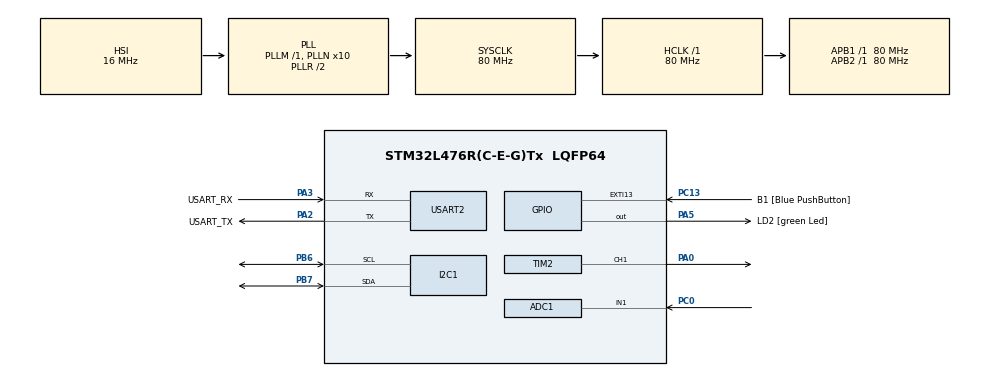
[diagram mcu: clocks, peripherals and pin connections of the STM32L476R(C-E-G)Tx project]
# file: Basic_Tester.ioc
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ADC1.Channel-0\#ChannelRegularConversion=ADC_CHANNEL_1
ADC1.NbrOfConversionFlag=1
ADC1.OffsetNumber-0\#ChannelRegularConversion=ADC_OFFSET_NONE
ADC1.Rank-0\#ChannelRegularConversion=1
ADC1.SamplingTime-0\#ChannelRegularConversion=ADC_SAMPLETIME_2CYCLES_5
ADC1.master=1
Dma.ADC1.0.Direction=DMA_PERIPH_TO_MEMORY
Dma.ADC1.0.Instance=DMA1_Channel1
Dma.ADC1.0.MemDataAlignment=DMA_MDATAALIGN_HALFWORD
Dma.ADC1.0.MemInc=DMA_MINC_ENABLE
Dma.ADC1.0.Mode=DMA_NORMAL
Dma.ADC1.0.PeriphDataAlignment=DMA_PDATAALIGN_HALFWORD
Dma.ADC1.0.PeriphInc=DMA_PINC_DISABLE
Dma.ADC1.0.Priority=DMA_PRIORITY_LOW
Dma.Request0=ADC1
I2C1.Timing=0x10909CEC
Mcu.Family=STM32L4
Mcu.Name=STM32L476R(C-E-G)Tx
Mcu.Package=LQFP64
NVIC.ADC1_2_IRQn=true\:0\:0\:false\:false\:true\:true\:true\:true
NVIC.DMA1_Channel1_IRQn=true\:0\:0\:false\:false\:true\:false\:true\:true
NVIC.PriorityGroup=NVIC_PRIORITYGROUP_4
NVIC.TIM2_IRQn=true\:0\:0\:false\:false\:true\:true\:true\:true
PA0.Signal=S_TIM2_CH1
PA13\ (JTMS-SWDIO).GPIO_Label=TMS
PA13\ (JTMS-SWDIO).Mode=Serial_Wire
PA13\ (JTMS-SWDIO).Signal=SYS_JTMS-SWDIO
PA14\ (JTCK-SWCLK).GPIO_Label=TCK
PA14\ (JTCK-SWCLK).Mode=Serial_Wire
PA14\ (JTCK-SWCLK).Signal=SYS_JTCK-SWCLK
PA2.GPIO_Label=USART_TX
PA2.GPIO_Mode=GPIO_MODE_AF_PP
PA2.GPIO_PuPd=GPIO_NOPULL
PA2.GPIO_Speed=GPIO_SPEED_FREQ_VERY_HIGH
PA2.Mode=Asynchronous
PA2.Signal=USART2_TX
PA3.GPIO_Label=USART_RX
PA3.GPIO_Mode=GPIO_MODE_AF_PP
PA3.GPIO_PuPd=GPIO_NOPULL
PA3.GPIO_Speed=GPIO_SPEED_FREQ_VERY_HIGH
PA3.Mode=Asynchronous
PA3.Signal=USART2_RX
PA5.GPIO_Label=LD2 [green Led]
PA5.GPIO_ModeDefaultOutputPP=GPIO_MODE_OUTPUT_PP
PA5.GPIO_PuPd=GPIO_NOPULL
PA5.GPIO_Speed=GPIO_SPEED_FREQ_LOW
PA5.Signal=GPIO_Output
PB3\ (JTDO-TRACESWO).GPIO_Label=SWO
PB3\ (JTDO-TRACESWO).Signal=SYS_JTDO-SWO
PB6.Mode=I2C
PB6.Signal=I2C1_SCL
PB7.Mode=I2C
PB7.Signal=I2C1_SDA
PC0.Signal=ADCx_IN1
PC13.GPIO_Label=B1 [Blue PushButton]
PC13.GPIO_ModeDefaultEXTI=GPIO_MODE_IT_FALLING
PC13.GPIO_PuPd=GPIO_NOPULL
PC13.Signal=GPXTI13
PC14-OSC32_IN\ (PC14).GPIO_Label=Test
PC14-OSC32_IN\ (PC14).Mode=LSE-External-Oscillator
PC14-OSC32_IN\ (PC14).Signal=RCC_OSC32_IN
PC15-OSC32_OUT\ (PC15).Mode=LSE-External-Oscillator
PC15-OSC32_OUT\ (PC15).Signal=RCC_OSC32_OUT
PH0-OSC_IN\ (PH0).Signal=RCC_OSC_IN
PH1-OSC_OUT\ (PH1).Signal=RCC_OSC_OUT
ProjectManager.HeapSize=0x200
ProjectManager.StackSize=0x400
ProjectManager.TargetToolchain=STM32CubeIDE
RCC.ADCFreq_Value=64000000
RCC.AHBFreq_Value=80000000
RCC.APB1Freq_Value=80000000
RCC.APB1TimFreq_Value=80000000
RCC.APB2Freq_Value=80000000
RCC.APB2TimFreq_Value=80000000
RCC.CortexFreq_Value=80000000
RCC.HCLKFreq_Value=80000000
RCC.HSE_VALUE=8000000
RCC.HSI_VALUE=16000000
RCC.MSI_VALUE=4000000
RCC.PLLN=10
RCC.PLLSourceVirtual=RCC_PLLSOURCE_HSI
RCC.PREFETCH_ENABLE=1
RCC.SYSCLKFreq_VALUE=80000000
RCC.SYSCLKSource=RCC_SYSCLKSOURCE_PLLCLK
RCC.USBFreq_Value=64000000
RCC.VCOOutputFreq_Value=160000000
SH.ADCx_IN1.0=ADC1_IN1,IN1-Single-Ended
SH.S_TIM2_CH1.0=TIM2_CH1,PWM Generation1 CH1
TIM2.AutoReloadPreload=TIM_AUTORELOAD_PRELOAD_ENABLE
TIM2.Channel-PWM\ Generation1\ CH1=TIM_CHANNEL_1
TIM2.Period=10000
TIM2.Prescaler=80
USART2.VirtualMode-Asynchronous=VM_ASYNC
VP_TIM2_VS_ClockSourceINT.Mode=Internal
board=NUCLEO-L476RG

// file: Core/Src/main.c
/* USER CODE BEGIN Header */
/* USER CODE END Header */
#include "main.h"

/* USER CODE BEGIN Includes */
#include <stdio.h>
#include <stdlib.h>
#include <math.h>
#include "lcd_i2c.h"
/* USER CODE END Includes */

/* USER CODE BEGIN PD */
#define TRUE	  			1
#define FALSE     			0
#define MUESTRAS     		20         //Muestras a realizar
#define CAL 				1.687      //Valor de Calibracion
/* USER CODE END PD */

ADC_HandleTypeDef hadc1;

I2C_HandleTypeDef hi2c1;

TIM_HandleTypeDef htim2;

UART_HandleTypeDef huart2;

/* USER CODE BEGIN PV */
char VOL_STR[5];                   		  //String del Voltaje
unsigned int Frecuencia_Salida;
volatile float Frecuencia = 0.0;
volatile uint32_t Tiempo_Subida = 0;      //Tiempo de Flanco de Subida
volatile uint32_t Tiempo_Bajada = 0;
volatile uint32_t Periodo = 0;
unsigned int cont_Frec = 0;
/* USER CODE END PV */

void SystemClock_Config(void);
static void MX_GPIO_Init(void);
static void MX_USART2_UART_Init(void);
static void MX_TIM2_Init(void);
static void MX_ADC1_Init(void);
static void MX_I2C1_Init(void);

int main(void)
{

  /* MCU Configuration--------------------------------------------------------*/

  /* Reset of all peripherals, Initializes the Flash interface and the Systick. */
  HAL_Init();

  /* Configure the system clock */
  SystemClock_Config();

  /* Initialize all configured peripherals */
  MX_GPIO_Init();
  MX_USART2_UART_Init();
  MX_TIM2_Init();
  MX_ADC1_Init();
  MX_I2C1_Init();
  /* USER CODE BEGIN 2 */
  HAL_TIM_Base_Start_IT(&htim2);
  lcd_init();
  /* USER CODE END 2 */

  /* Infinite loop */

}

void SystemClock_Config(void)
{
  RCC_OscInitTypeDef RCC_OscInitStruct = {0};
  RCC_ClkInitTypeDef RCC_ClkInitStruct = {0};

  /** Configure the main internal regulator output voltage
  */
  if (HAL_PWREx_ControlVoltageScaling(PWR_REGULATOR_VOLTAGE_SCALE1) != HAL_OK)
  {
    Error_Handler();
  }

  /** Initializes the RCC Oscillators according to the specified parameters
  * in the RCC_OscInitTypeDef structure.
  */
  RCC_OscInitStruct.OscillatorType = RCC_OSCILLATORTYPE_HSI;
  RCC_OscInitStruct.HSIState = RCC_HSI_ON;
  RCC_OscInitStruct.HSICalibrationValue = RCC_HSICALIBRATION_DEFAULT;
  RCC_OscInitStruct.PLL.PLLState = RCC_PLL_ON;
  RCC_OscInitStruct.PLL.PLLSource = RCC_PLLSOURCE_HSI;
  RCC_OscInitStruct.PLL.PLLM = 1;
  RCC_OscInitStruct.PLL.PLLN = 10;
  RCC_OscInitStruct.PLL.PLLP = RCC_PLLP_DIV7;
  RCC_OscInitStruct.PLL.PLLQ = RCC_PLLQ_DIV2;
  RCC_OscInitStruct.PLL.PLLR = RCC_PLLR_DIV2;
  if (HAL_RCC_OscConfig(&RCC_OscInitStruct) != HAL_OK)
  {
    Error_Handler();
  }

  /** Initializes the CPU, AHB and APB buses clocks
  */
  RCC_ClkInitStruct.ClockType = RCC_CLOCKTYPE_HCLK|RCC_CLOCKTYPE_SYSCLK
                              |RCC_CLOCKTYPE_PCLK1|RCC_CLOCKTYPE_PCLK2;
  RCC_ClkInitStruct.SYSCLKSource = RCC_SYSCLKSOURCE_PLLCLK;
  RCC_ClkInitStruct.AHBCLKDivider = RCC_SYSCLK_DIV1;
  RCC_ClkInitStruct.APB1CLKDivider = RCC_HCLK_DIV1;
  RCC_ClkInitStruct.APB2CLKDivider = RCC_HCLK_DIV1;

  if (HAL_RCC_ClockConfig(&RCC_ClkInitStruct, FLASH_LATENCY_4) != HAL_OK)
  {
    Error_Handler();
  }
}

static void MX_ADC1_Init(void)
{

  ADC_MultiModeTypeDef multimode = {0};
  ADC_ChannelConfTypeDef sConfig = {0};

  /** Common config
  */
  hadc1.Instance = ADC1;
  hadc1.Init.ClockPrescaler = ADC_CLOCK_ASYNC_DIV1;
  hadc1.Init.Resolution = ADC_RESOLUTION_12B;
  hadc1.Init.DataAlign = ADC_DATAALIGN_RIGHT;
  hadc1.Init.ScanConvMode = ADC_SCAN_DISABLE;
  hadc1.Init.EOCSelection = ADC_EOC_SINGLE_CONV;
  hadc1.Init.LowPowerAutoWait = DISABLE;
  hadc1.Init.ContinuousConvMode = DISABLE;
  hadc1.Init.NbrOfConversion = 1;
  hadc1.Init.DiscontinuousConvMode = DISABLE;
  hadc1.Init.ExternalTrigConv = ADC_SOFTWARE_START;
  hadc1.Init.ExternalTrigConvEdge = ADC_EXTERNALTRIGCONVEDGE_NONE;
  hadc1.Init.DMAContinuousRequests = DISABLE;
  hadc1.Init.Overrun = ADC_OVR_DATA_PRESERVED;
  hadc1.Init.OversamplingMode = DISABLE;
  if (HAL_ADC_Init(&hadc1) != HAL_OK)
  {
    Error_Handler();
  }

  /** Configure the ADC multi-mode
  */
  multimode.Mode = ADC_MODE_INDEPENDENT;
  if (HAL_ADCEx_MultiModeConfigChannel(&hadc1, &multimode) != HAL_OK)
  {
    Error_Handler();
  }

  /** Configure Regular Channel
  */
  sConfig.Channel = ADC_CHANNEL_1;
  sConfig.Rank = ADC_REGULAR_RANK_1;
  sConfig.SamplingTime = ADC_SAMPLETIME_2CYCLES_5;
  sConfig.SingleDiff = ADC_SINGLE_ENDED;
  sConfig.OffsetNumber = ADC_OFFSET_NONE;
  sConfig.Offset = 0;
  if (HAL_ADC_ConfigChannel(&hadc1, &sConfig) != HAL_OK)
  {
    Error_Handler();
  }

}

static void MX_I2C1_Init(void)
{

  hi2c1.Instance = I2C1;
  hi2c1.Init.Timing = 0x10909CEC;
  hi2c1.Init.OwnAddress1 = 0;
  hi2c1.Init.AddressingMode = I2C_ADDRESSINGMODE_7BIT;
  hi2c1.Init.DualAddressMode = I2C_DUALADDRESS_DISABLE;
  hi2c1.Init.OwnAddress2 = 0;
  hi2c1.Init.OwnAddress2Masks = I2C_OA2_NOMASK;
  hi2c1.Init.GeneralCallMode = I2C_GENERALCALL_DISABLE;
  hi2c1.Init.NoStretchMode = I2C_NOSTRETCH_DISABLE;
  if (HAL_I2C_Init(&hi2c1) != HAL_OK)
  {
    Error_Handler();
  }

  /** Configure Analogue filter
  */
  if (HAL_I2CEx_ConfigAnalogFilter(&hi2c1, I2C_ANALOGFILTER_ENABLE) != HAL_OK)
  {
    Error_Handler();
  }

  /** Configure Digital filter
  */
  if (HAL_I2CEx_ConfigDigitalFilter(&hi2c1, 0) != HAL_OK)
  {
    Error_Handler();
  }

}

static void MX_TIM2_Init(void)
{

  TIM_ClockConfigTypeDef sClockSourceConfig = {0};
  TIM_MasterConfigTypeDef sMasterConfig = {0};

  htim2.Instance = TIM2;
  htim2.Init.Prescaler = 80;
  htim2.Init.CounterMode = TIM_COUNTERMODE_UP;
  htim2.Init.Period = 10000;
  htim2.Init.ClockDivision = TIM_CLOCKDIVISION_DIV1;
  htim2.Init.AutoReloadPreload = TIM_AUTORELOAD_PRELOAD_DISABLE;
  if (HAL_TIM_Base_Init(&htim2) != HAL_OK)
  {
    Error_Handler();
  }
  sClockSourceConfig.ClockSource = TIM_CLOCKSOURCE_INTERNAL;
  if (HAL_TIM_ConfigClockSource(&htim2, &sClockSourceConfig) != HAL_OK)
  {
    Error_Handler();
  }
  sMasterConfig.MasterOutputTrigger = TIM_TRGO_RESET;
  sMasterConfig.MasterSlaveMode = TIM_MASTERSLAVEMODE_DISABLE;
  if (HAL_TIMEx_MasterConfigSynchronization(&htim2, &sMasterConfig) != HAL_OK)
  {
    Error_Handler();
  }

}

static void MX_USART2_UART_Init(void)
{

  huart2.Instance = USART2;
  huart2.Init.BaudRate = 115200;
  huart2.Init.WordLength = UART_WORDLENGTH_8B;
  huart2.Init.StopBits = UART_STOPBITS_1;
  huart2.Init.Parity = UART_PARITY_NONE;
  huart2.Init.Mode = UART_MODE_TX_RX;
  huart2.Init.HwFlowCtl = UART_HWCONTROL_NONE;
  huart2.Init.OverSampling = UART_OVERSAMPLING_16;
  huart2.Init.OneBitSampling = UART_ONE_BIT_SAMPLE_DISABLE;
  huart2.AdvancedInit.AdvFeatureInit = UART_ADVFEATURE_NO_INIT;
  if (HAL_UART_Init(&huart2) != HAL_OK)
  {
    Error_Handler();
  }

}

static void MX_GPIO_Init(void)
{
  GPIO_InitTypeDef GPIO_InitStruct = {0};

  /* GPIO Ports Clock Enable */
  __HAL_RCC_GPIOC_CLK_ENABLE();
  __HAL_RCC_GPIOH_CLK_ENABLE();
  __HAL_RCC_GPIOA_CLK_ENABLE();
  __HAL_RCC_GPIOB_CLK_ENABLE();

  /*Configure GPIO pin Output Level */
  HAL_GPIO_WritePin(LD2_GPIO_Port, LD2_Pin, GPIO_PIN_RESET);

  /*Configure GPIO pin : B1_Pin */
  GPIO_InitStruct.Pin = B1_Pin;
  GPIO_InitStruct.Mode = GPIO_MODE_IT_FALLING;
  GPIO_InitStruct.Pull = GPIO_NOPULL;
  HAL_GPIO_Init(B1_GPIO_Port, &GPIO_InitStruct);

  /*Configure GPIO pin : LD2_Pin */
  GPIO_InitStruct.Pin = LD2_Pin;
  GPIO_InitStruct.Mode = GPIO_MODE_OUTPUT_PP;
  GPIO_InitStruct.Pull = GPIO_NOPULL;
  GPIO_InitStruct.Speed = GPIO_SPEED_FREQ_LOW;
  HAL_GPIO_Init(LD2_GPIO_Port, &GPIO_InitStruct);

}

/* USER CODE BEGIN 4 */
void HAL_TIM_PeriodElapsedCallback(TIM_HandleTypeDef *htim)
{
    static unsigned int cont_VOL = 0;
    static float Media = 0.0;
    static uint32_t MED_ADC = 0; // Medir ADC

    HAL_ADC_Start_IT(&hadc1);
    MED_ADC = HAL_ADC_GetValue(&hadc1);

    if (cont_VOL >= MUESTRAS)
    {
        Media = Media / cont_VOL; // Dividir por MUESTRA en lugar de cont_VOL
        Media = sqrtf(Media) * 0.0005;
        float VOLTAJE_CALCULADO = Media * CAL; // Changed the name to avoid conflict
        cont_VOL = 0;
        Media = 0;

        // Convertir el valor de voltaje flotante a cadena
        char VOLTAJE[20]; // Asumiendo la longitud máxima de la representación de cadena del voltaje
        sprintf(VOLTAJE, "%.2f", VOLTAJE_CALCULADO);

        // Código para el LCD
        lcd_clear();
		lcd_enviar("VOLTAJE:", 0, 2);     //Palabra Voltaje, Fila 0, Columna 2
		lcd_enviar(VOLTAJE, 1, 2);
		HAL_Delay(1000);
    }
    else
    {
        MED_ADC *= MED_ADC; // Corregir la potencia de 2
        Media += MED_ADC;
        cont_VOL++;
        MED_ADC = 0;
    }

    HAL_ADC_Stop_IT(&hadc1);
}
/* USER CODE END 4 */

void Error_Handler(void)
{
}
